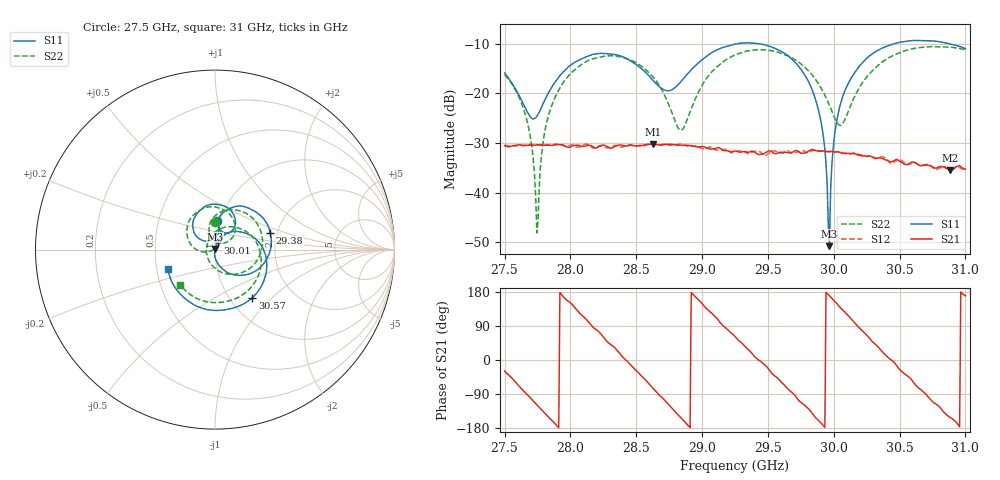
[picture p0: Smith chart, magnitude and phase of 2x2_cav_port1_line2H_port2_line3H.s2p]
!Created with skrf (http://scikit-rf.org).
# GHz S RI R 50.0
!freq ReS11 ImS11 ReS21 ImS21 ReS12 ImS12 ReS22 ImS22
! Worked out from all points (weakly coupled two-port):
!   401 points, 27.5 GHz to 31 GHz, reference 50 ohm
!   highest |S21| = -30.21 dB at 28.63 GHz (marker M1); lowest = -35.4 dB at 30.89 GHz (marker M2)
!   lowest |S11| = -50.8 dB at 29.97 GHz (marker M3), VSWR 1.01, Z = 50 + j0.287 ohm
!   |S11| at or under -10 dB: start of sweep to 29.26 GHz; 29.44 GHz to 30.46 GHz (1.022 GHz wide, 3.41 % of centre); 30.87924 GHz to end of sweep
!   |S22| runs from -48.1 to -10.6 dB; largest |S21 - S12| = 0.0019
!   S11 on the Smith chart (normalised r, x): 27.5 GHz: 0.97, +0.32; 29.38 GHz: 1.83, +0.39; 30.01 GHz: 1.03, +0.08; 30.57 GHz: 1.26, -0.77; 31 GHz: 0.57, -0.14
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27.5  0.0102 0.1602  0.026 -0.0143  0.0263 -0.0142  0.00178 0.1542
27.66625  0.00263 0.0673  0.000205 -0.03  0.000419 -0.0301  0.0323 0.0451
27.745  -0.0349 0.0475  -0.0144 -0.0267  -0.0143 -0.0267  3.1e-05 0.00392
27.7975  -0.0647 0.0493  -0.0223 -0.0202  -0.0222 -0.0204  -0.0341 -0.011
27.85  -0.0911 0.0628  -0.0275 -0.0118  -0.0274 -0.0119  -0.0693 -0.0127
28.08625  -0.1002 0.1997  -0.0138 0.0257  -0.0148 0.0254  -0.1555 0.1202
28.62875  0.0901 0.1005  0.0079 -0.0298  0.00812 -0.0295  0.1108 0.0951
28.6725  0.073 0.0923  -0.000944 -0.0302  -0.00045 -0.0305  0.0994 0.0701
28.8475  0.0185 0.1339  -0.0273 -0.0124  -0.0281 -0.0122  0.01 0.0417
29.03125  0.0718 0.2238  -0.0203 0.0195  -0.0209 0.0181  -0.0306 0.1366
29.25  0.2417 0.1994  0.0123 0.0231  0.0116 0.0231  0.1009 0.2228
29.38125  0.3074 0.0949  0.0251 0.00734  0.0242 0.00828  0.2091 0.1757
29.6525  0.2007 -0.132  0.00594 -0.0246  0.00612 -0.0255  0.2283 -0.0693
29.83625  0.0362 -0.1024  -0.0212 -0.0171  -0.0203 -0.017  0.0704 -0.1365
29.915  0.000153 -0.0419  -0.026 -0.00418  -0.0259 -0.00363  0.0025 -0.1064
29.9675  0.0001 0.00287  -0.0254 0.00469  -0.0255 0.00463  -0.0293 -0.0697
30.01125  0.0149 0.0397  -0.0229 0.0115  -0.0228 0.0115  -0.0443 -0.0325
30.1425  0.1109 0.101  -0.00626 0.024  -0.00686 0.0238  -0.0161 0.0819
30.4225  0.2883 -0.1032  0.0203 0.00125  0.0203 0.000265  0.2253 0.0494
30.57125  0.2072 -0.2687  0.0138 -0.0137  0.0132 -0.0139  0.2511 -0.1166
30.88625  -0.1898 -0.2509  -0.015 -0.00785  -0.0153 -0.00751  -0.0723 -0.2836
31  -0.2613 -0.1093  -0.0169 0.00313  -0.017 0.0025  -0.1954 -0.1957
